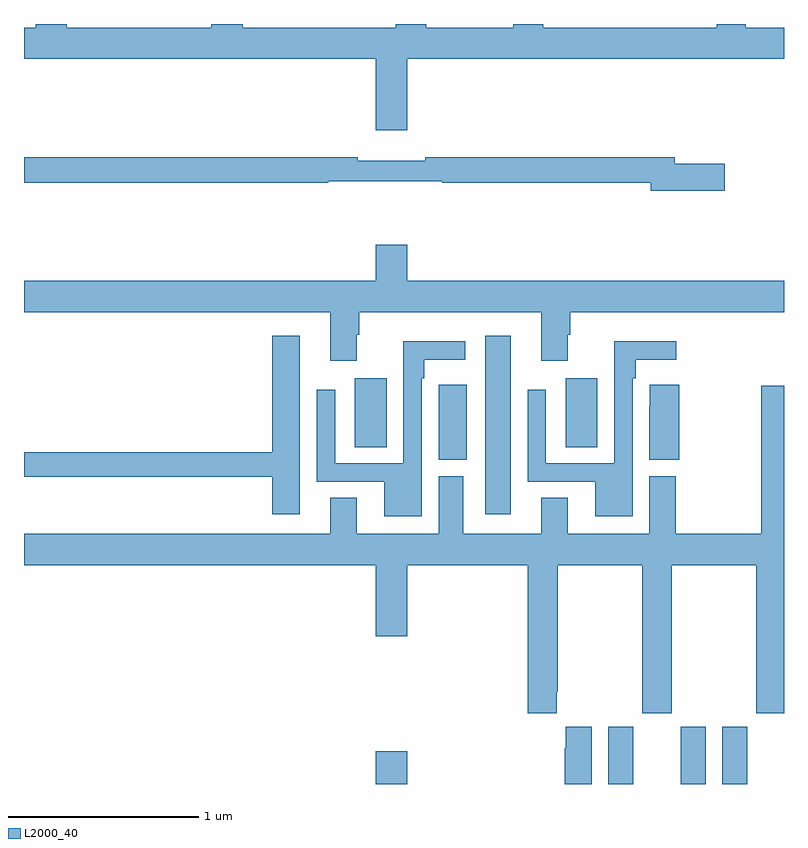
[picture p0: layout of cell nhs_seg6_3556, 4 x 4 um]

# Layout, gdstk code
import gdstk
lib = gdstk.Library(unit=1e-6, precision=1e-09)
def R(c, l, rs):  # rectangles x0, y0, x1, y1
    for r in rs: c.add(gdstk.rectangle(r[:2], r[2:], *l))
def P(c, l, *ps):  # polygons
    for p in ps: c.add(gdstk.Polygon(p, *l))
L2000_40 = (2000, 40)

nhs_seg6_3556 = lib.new_cell('nhs_seg6_3556')
R(nhs_seg6_3556, L2000_40, [(320.852,963.5,321.016,963.673), (322.076,963.5,322.207,963.802), (322.457,963.5,322.588,963.802), (322.676,963.5,322.807,963.802), (321.428,964.92,321.562,965.86), (321.182,965.206,321.331,965.602), (320.741,965.272,320.908,965.635), (321.851,965.272,322.018,965.635)])
P(nhs_seg6_3556, L2000_40, [(321.016,967.316),(323,967.316),(323,967.48),(322.798,967.48),(322.798,967.5),(322.646,967.5),(322.646,967.48),(321.734,967.48),(321.734,967.5),(321.574,967.5),(321.574,967.48),(321.117,967.48),(321.117,967.5),(320.957,967.5),(320.957,967.48),(320.15,967.48),(320.15,967.5),(319.985,967.5),(319.985,967.48),(319.226,967.48),(319.226,967.5),(319.061,967.5),(319.061,967.48),(319,967.48),(319,967.316),(320.852,967.316),(320.852,966.942),(321.016,966.942)],
  [(322.687,966.764),(322.426,966.764),(322.426,966.8),(321.112,966.8),(321.112,966.781),(320.756,966.781),(320.756,966.8),(319,966.8),(319,966.664),(320.602,966.664),(320.602,966.672),(321.202,966.672),(321.202,966.664),(322.298,966.664),(322.298,966.622),(322.687,966.622)],
  [(320.752,965.864),(320.765,965.864),(320.765,965.984),(321.722,965.984),(321.722,965.727),(321.862,965.727),(321.862,965.864),(321.875,965.864),(321.875,965.984),(323,965.984),(323,966.148),(321.016,966.148),(321.016,966.337),(320.852,966.337),(320.852,966.148),(319,966.148),(319,965.984),(320.612,965.984),(320.612,965.727),(320.752,965.727)],
  [(320.452,965.86),(320.306,965.86),(320.306,965.246),(319,965.246),(319,965.118),(320.306,965.118),(320.306,964.92),(320.452,964.92)],
  [(321.093,965.636),(321.106,965.636),(321.106,965.732),(321.322,965.732),(321.322,965.83),(320.997,965.83),(320.997,965.187),(320.637,965.187),(320.637,965.575),(320.541,965.575),(320.541,965.091),(320.897,965.091),(320.897,964.91),(321.093,964.91)],
  [(322.203,965.636),(322.219,965.636),(322.219,965.732),(322.432,965.732),(322.432,965.83),(322.107,965.83),(322.107,965.187),(321.747,965.187),(321.747,965.575),(321.651,965.575),(321.651,965.091),(322.007,965.091),(322.007,964.91),(322.203,964.91)],
  [(322.449,965.602),(322.293,965.602),(322.293,965.489),(322.292,965.489),(322.292,965.206),(322.449,965.206)],
  [(321.805,963.985),(321.81,963.985),(321.81,964.652),(322.255,964.652),(322.255,963.873),(322.41,963.873),(322.41,964.652),(322.855,964.652),(322.855,963.873),(323,963.873),(323,965.595),(322.879,965.595),(322.879,964.816),(322.431,964.816),(322.431,965.121),(322.292,965.121),(322.292,964.816),(321.862,964.816),(321.862,965.006),(321.722,965.006),(321.722,964.816),(321.313,964.816),(321.313,965.121),(321.182,965.121),(321.182,964.816),(320.752,964.816),(320.752,965.006),(320.612,965.006),(320.612,964.816),(319,964.816),(319,964.652),(320.852,964.652),(320.852,964.278),(321.016,964.278),(321.016,964.652),(321.65,964.652),(321.65,963.873),(321.805,963.873)],
  [(321.988,963.802),(321.851,963.802),(321.851,963.689),(321.845,963.689),(321.845,963.5),(321.988,963.5)])

lib.write_gds('nhs_seg6_3556.gds')
